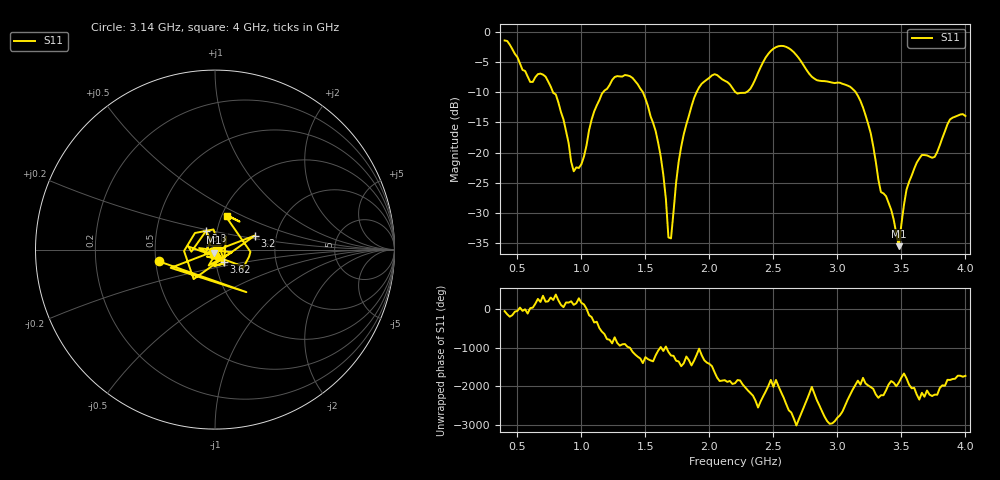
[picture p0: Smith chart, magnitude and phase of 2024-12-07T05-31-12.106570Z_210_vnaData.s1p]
!Created with skrf (http://scikit-rf.org).
# Hz S RI R 50.0
!freq ReS11 ImS11
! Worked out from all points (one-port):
!   181 points, 400 MHz to 4 GHz, reference 50 ohm
!   lowest |S11| = -35.5 dB at 3.48 GHz (marker M1), VSWR 1.03, Z = 49.6 - j1.62 ohm
!   |S11| at or under -10 dB: 777.3 MHz to 1.171 GHz (393.7 MHz wide, 40.4 % of centre); 1.48 GHz to 1.9 GHz (420.7 MHz wide, 24.9 % of centre); 3.142 GHz to end of sweep (the widest 3 of 4)
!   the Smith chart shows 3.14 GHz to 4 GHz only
!   S11 on the Smith chart (normalised r, x): 3.14 GHz: 0.52, -0.08; 3.2 GHz: 1.55, +0.26; 3.62 GHz: 1.09, -0.15; 3.8 GHz: 0.89, +0.19; 4 GHz: 1.06, +0.42
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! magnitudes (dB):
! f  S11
! 400 MHz  -1.5
! 600 MHz  -8.3
! 720 MHz  -7.5
! 860 MHz  -14.5
! 940 MHz  -23.1
! 980 MHz  -22.6
! 1.16 GHz  -10.3
! 1.3 GHz  -7.4
! 1.48 GHz  -10.0
! 1.58 GHz  -16.4
! 1.64 GHz  -23.7
! 1.68 GHz  -34.0
! 1.7 GHz  -34.2
! 1.76 GHz  -21.5
! 1.94 GHz  -8.6
! 2.2 GHz  -10.0
! 2.32 GHz  -9.5
! 2.5 GHz  -2.8
! 2.66 GHz  -3.4
! 3.1 GHz  -9.1
! 3.14 GHz  -9.9
! 3.2 GHz  -12.5
! 3.34 GHz  -26.5
! 3.48 GHz  -35.5
! 3.56 GHz  -24.9
! 3.62 GHz  -21.7
! 3.8 GHz  -18.8
! 4 GHz  -14.0
